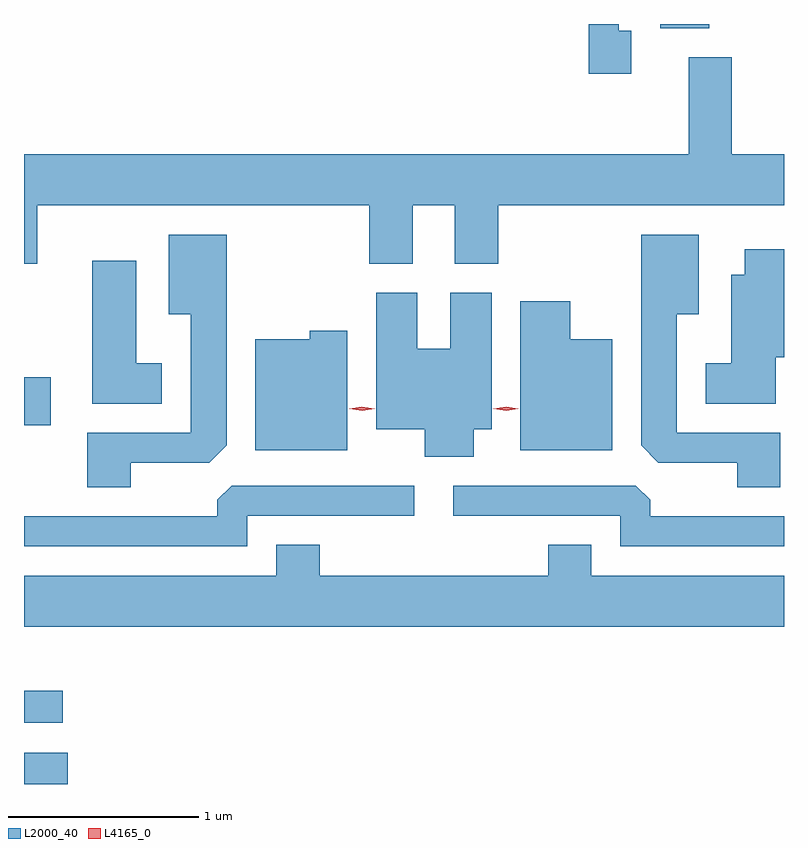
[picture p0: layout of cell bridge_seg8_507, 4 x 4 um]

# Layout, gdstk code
import gdstk
lib = gdstk.Library(unit=1e-6, precision=1e-09)
def R(c, l, rs):  # rectangles x0, y0, x1, y1
    for r in rs: c.add(gdstk.rectangle(r[:2], r[2:], *l))
def P(c, l, *ps):  # polygons
    for p in ps: c.add(gdstk.Polygon(p, *l))
L2000_40 = (2000, 40)
L4165_0 = (4165, 0)

bridge_seg8_507 = lib.new_cell('bridge_seg8_507')
R(bridge_seg8_507, L2000_40, [(261.523,1866.669,261.754,1866.834), (261.523,1866.991,261.728,1867.159), (261.523,1868.556,261.664,1868.809), (264.871,1870.646,265.129,1870.669)])
P(bridge_seg8_507, L2000_40, [(264.719,1870.634),(264.654,1870.634),(264.654,1870.669),(264.496,1870.669),(264.496,1870.406),(264.719,1870.406)],
  [(261.594,1869.716),(263.341,1869.716),(263.341,1869.406),(263.569,1869.406),(263.569,1869.716),(263.791,1869.716),(263.791,1869.406),(264.019,1869.406),(264.019,1869.716),(265.523,1869.716),(265.523,1869.984),(265.249,1869.984),(265.249,1870.494),(265.021,1870.494),(265.021,1869.984),(261.523,1869.984),(261.523,1869.406),(261.594,1869.406)],
  [(262.084,1868.361),(262.499,1868.361),(262.589,1868.452),(262.589,1869.559),(262.286,1869.559),(262.286,1869.141),(262.401,1869.141),(262.401,1868.519),(261.856,1868.519),(261.856,1868.231),(262.084,1868.231)],
  [(265.504,1868.519),(264.959,1868.519),(264.959,1869.141),(265.074,1869.141),(265.074,1869.559),(264.771,1869.559),(264.771,1868.452),(264.862,1868.361),(265.276,1868.361),(265.276,1868.231),(265.504,1868.231)],
  [(265.479,1868.916),(265.523,1868.916),(265.523,1869.484),(265.316,1869.484),(265.316,1869.349),(265.246,1869.349),(265.246,1868.884),(265.111,1868.884),(265.111,1868.671),(265.479,1868.671)],
  [(262.249,1868.884),(262.114,1868.884),(262.114,1869.424),(261.881,1869.424),(261.881,1868.671),(262.249,1868.671)],
  [(263.889,1868.536),(263.984,1868.536),(263.984,1869.254),(263.766,1869.254),(263.766,1868.959),(263.594,1868.959),(263.594,1869.254),(263.376,1869.254),(263.376,1868.536),(263.631,1868.536),(263.631,1868.391),(263.889,1868.391)],
  [(264.619,1869.009),(264.399,1869.009),(264.399,1869.209),(264.136,1869.209),(264.136,1868.426),(264.619,1868.426)],
  [(263.224,1869.054),(263.026,1869.054),(263.026,1869.009),(262.741,1869.009),(262.741,1868.426),(263.224,1868.426)],
  [(262.699,1868.081),(263.578,1868.081),(263.578,1868.239),(262.617,1868.239),(262.541,1868.164),(262.541,1868.079),(261.523,1868.079),(261.523,1867.921),(262.699,1867.921)],
  [(265.523,1868.079),(264.819,1868.079),(264.819,1868.164),(264.744,1868.239),(263.783,1868.239),(263.783,1868.081),(264.661,1868.081),(264.661,1867.921),(265.523,1867.921)],
  [(265.523,1867.764),(264.509,1867.764),(264.509,1867.929),(264.281,1867.929),(264.281,1867.764),(263.079,1867.764),(263.079,1867.929),(262.851,1867.929),(262.851,1867.764),(261.523,1867.764),(261.523,1867.496),(265.523,1867.496)])
P(bridge_seg8_507, L4165_0, [(263.302,1868.634),(263.235,1868.644),(263.234,1868.644),(263.235,1868.644),(263.301,1868.654),(263.368,1868.645),(263.368,1868.644),(263.368,1868.644)],
  [(264.06,1868.634),(263.994,1868.644),(263.994,1868.644),(263.994,1868.645),(264.06,1868.654),(264.125,1868.644),(264.125,1868.644),(264.125,1868.643)])

lib.write_gds('bridge_seg8_507.gds')
